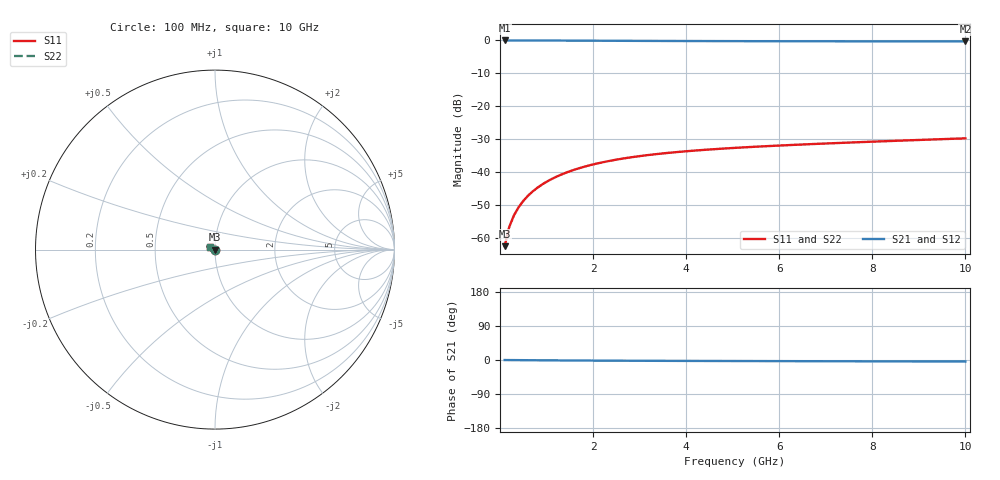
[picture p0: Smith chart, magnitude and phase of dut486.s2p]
! Touchstone file exported from HFSS 2024.1.0
!  File:  C:/UserFiles/LocalFiles/RDL_TSV_Batchsim/temp_TSV1_486_1779700001.aedt
!  Generated:  05:13:47 PM May 25, 2026
!  Design:  TSV1
!  Project:  temp_TSV1_486_1779700001
!  Setup:  Setup1
!  Solution:  Sweep
! Variables:
!  dtsv = 8.52um
!  hbump = 3um
!  htsv = 59.37um
!  lrdl = 252.1521522um
!  p = 40
!  p1 = 53.84um
!  t = 500um
!  trdl = 3um
!  wrdl = 24.89489489um
# GHz S MA R 50.000000
! Terminal data exported
! Port[1] = TSV22_T1
! Port[2] = TSV22_T2
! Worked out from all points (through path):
!   100 points, 100 MHz to 10 GHz, reference 50 ohm
!   highest |S21| = 0.00 dB at 100 MHz (marker M1); lowest = -0.3 dB at 10 GHz (marker M2)
!   lowest |S11| = -62.4 dB at 100 MHz (marker M3), VSWR 1.00, Z = 50 - j0.0747 ohm
!   |S11| at or under -10 dB: start of sweep to end of sweep
!   |S22| runs from -62.4 to -29.7 dB; largest |S21 - S12| = 3.5e-15
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0.1  0.0007594 -79.4  0.9998 -0.1  0.9998 -0.1  0.0007594 -79.4
! Gamma 0 0 0 0
! Port Impedance 50 0 50 0
0.2  0.001489 -87.9  0.9997 -0.2  0.9997 -0.2  0.001489 -87.9
0.3  0.002223 -92.1  0.9996 -0.3  0.9996 -0.3  0.002223 -92.1
0.4  0.002953 -95.4  0.9994 -0.4  0.9994 -0.4  0.002953 -95.4
0.5  0.003679 -98.1  0.9991 -0.5  0.9991 -0.5  0.003679 -98.1
0.6  0.004398 -100.7  0.9988 -0.5  0.9988 -0.5  0.004398 -100.7
0.7  0.00511 -103.1  0.9984 -0.6  0.9984 -0.6  0.00511 -103.1
0.8  0.005811 -105.3  0.998 -0.7  0.998 -0.7  0.005811 -105.3
0.9  0.006502 -107.6  0.9976 -0.8  0.9976 -0.8  0.006502 -107.6
1.1  0.007848 -111.8  0.9966 -1.0  0.9966 -1.0  0.007848 -111.8
1.4  0.009763 -117.9  0.9949 -1.2  0.9949 -1.2  0.009763 -117.9
1.6  0.01096 -121.7  0.9937 -1.3  0.9937 -1.3  0.01096 -121.7
1.8  0.0121 -125.4  0.9924 -1.4  0.9924 -1.4  0.0121 -125.4
2.1  0.01368 -130.6  0.9905 -1.6  0.9905 -1.6  0.01368 -130.6
2.5  0.01557 -137.1  0.988 -1.8  0.988 -1.8  0.01557 -137.1
2.9  0.01723 -143.1  0.9856 -2.0  0.9856 -2.0  0.01723 -143.1
3.4  0.01903 -150.0  0.9828 -2.2  0.9828 -2.2  0.01903 -150.0
4.2  0.02142 -159.6  0.9791 -2.5  0.9791 -2.5  0.02142 -159.6
5.1  0.02361 -168.9  0.9758 -2.7  0.9758 -2.7  0.02361 -168.9
6.7  0.02682 177.7  0.9717 -3.2  0.9717 -3.2  0.02682 177.7
8.4  0.02989 166.4  0.9689 -3.6  0.9689 -3.6  0.02989 166.4
10  0.03278 157.7  0.967 -4.1  0.967 -4.1  0.03278 157.7
